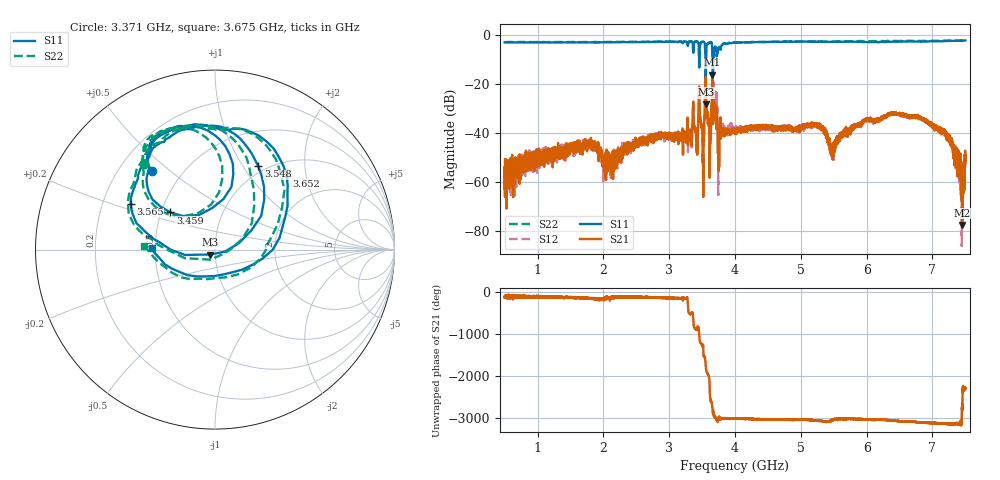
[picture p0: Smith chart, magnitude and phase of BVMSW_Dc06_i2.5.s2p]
!Keysight Technologies,M9374A,MY55442783,A.12.55.05
!Date: Friday, May 21, 2021 09:45:20
!Correction: S11(Full 2 Port(1,2))
!S21(Full 2 Port(1,2))
!S12(Full 2 Port(1,2))
!S22(Full 2 Port(1,2))
!S2P File: Measurements: S11, S21, S12, S22:
# Hz S  RI  R 50
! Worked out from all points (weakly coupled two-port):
!   7001 points, 500 MHz to 7.5 GHz, reference 50 ohm
!   highest |S21| = -16.40 dB at 3.657 GHz (marker M1); lowest = -77.7 dB at 7.452 GHz (marker M2)
!   lowest |S11| = -28.4 dB at 3.556 GHz (marker M3), VSWR 1.08, Z = 47.4 - j2.64 ohm
!   |S11| at or under -10 dB: 3.454561 GHz to 3.458905 GHz (4.344 MHz wide, 0.126 % of centre); 3.552024 GHz to 3.560279 GHz (8.255 MHz wide, 0.232 % of centre); 3.659082 GHz to 3.672521 GHz (13.44 MHz wide, 0.367 % of centre)
!   |S22| runs from -24.9 to -2.4 dB; largest |S21 - S12| = 0.089
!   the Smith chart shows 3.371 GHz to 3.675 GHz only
!   S11 on the Smith chart (normalised r, x): 3.371 GHz: 0.34, +0.43; 3.459 GHz: 0.56, +0.26; 3.548 GHz: 0.92, +1.17; 3.565 GHz: 0.32, +0.23; 3.652 GHz: 1.26, +1.55; 3.675 GHz: 0.48, +0.01
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5e8  -0.6843 0.1066  -0.000337 -0.000639  -0.000537 -0.00204  -0.6978 0.1023
1.667e9  -0.6109 0.3312  -0.00276 -0.00425  -0.00317 -0.00414  -0.6267 0.3181
2.104e9  -0.5657 0.4091  -0.00156 -0.00122  -0.00184 -0.00119  -0.5914 0.3918
2.834e9  -0.4679 0.5345  -0.00542 -0.00706  -0.00453 -0.00762  -0.4971 0.5211
3.371e9  -0.3535 0.4377  0.0134 -0.0139  0.0117 -0.0122  -0.3968 0.4777
3.459e9  -0.248 0.207  0.0545 -0.00474  0.0562 0.00852  -0.3358 0.2419
3.504e9  -0.2586 0.6592  -0.00899 0.00596  -0.00937 0.00467  -0.2916 0.6516
3.548e9  0.2417 0.4639  -0.0988 -0.00334  -0.0958 -0.0108  0.2035 0.399
3.556e9  -0.0257 -0.0278  0.1021 0.0453  0.0991 0.0563  -0.1681 -0.0479
3.565e9  -0.4707 0.2525  0.0103 -0.029  0.0131 -0.031  -0.4793 0.3057
3.609e9  -0.2502 0.6261  0.00084 0.0137  -0.0011 0.0104  -0.2862 0.6216
3.652e9  0.3985 0.4125  -0.1012 -0.0482  -0.0584 -0.0683  0.3694 0.407
3.657e9  0.3766 0.1265  -0.0854 0.1249  -0.088 0.1417  0.293 0.0303
3.675e9  -0.3527 0.00634  0.0364 -0.0375  0.0475 -0.0905  -0.397 0.0226
3.776e9  -0.3693 0.3425  -0.00405 -0.0111  -0.00419 -0.0107  -0.3961 0.2985
4e9  -0.391 0.5586  -0.00789 -0.00681  -0.0105 -0.00704  -0.4236 0.5377
5.167e9  -0.1625 0.6985  -0.0151 -0.00145  -0.0131 -0.00191  -0.235 0.6866
5.477e9  -0.1149 0.703  -0.00529 0.000506  -0.00545 0.00029  -0.1968 0.6967
6.334e9  -0.00274 0.7138  -0.0245 0.000462  -0.0233 0.000747  -0.0763 0.7395
7.176e9  0.0937 0.7299  -0.000958 0.0114  -0.00173 0.00902  0.0403 0.752
7.452e9  0.1349 0.7456  9.2e-05 9.24e-05  0.000611 9.23e-05  0.0703 0.7497
7.5e9  0.144 0.7449  -0.00237 -0.0024  -0.00179 -0.0013  0.0797 0.7507
